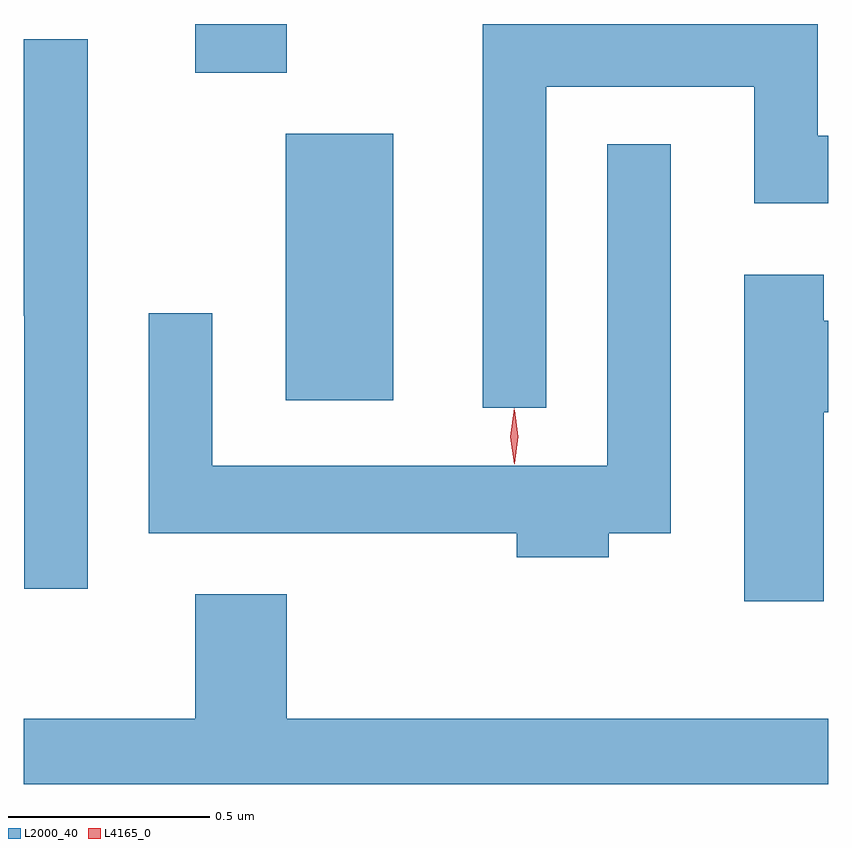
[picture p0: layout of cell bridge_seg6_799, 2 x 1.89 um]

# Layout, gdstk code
import gdstk
lib = gdstk.Library(unit=1e-6, precision=1e-09)
def R(c, l, rs):  # rectangles x0, y0, x1, y1
    for r in rs: c.add(gdstk.rectangle(r[:2], r[2:], *l))
def P(c, l, *ps):  # polygons
    for p in ps: c.add(gdstk.Polygon(p, *l))
L2000_40 = (2000, 40)
L4165_0 = (4165, 0)

bridge_seg6_799 = lib.new_cell('bridge_seg6_799')
R(bridge_seg6_799, L2000_40, [(484.256,1531.116,484.524,1531.779), (484.031,1531.931,484.259,1532.052)])
P(bridge_seg6_799, L2000_40, [(484.904,1531.896),(485.421,1531.896),(485.421,1531.606),(485.605,1531.606),(485.605,1531.774),(485.579,1531.774),(485.579,1532.052),(484.746,1532.052),(484.746,1531.098),(484.904,1531.098)],
  [(483.764,1532.014),(483.605,1532.014),(483.605,1531.326),(483.606,1531.326),(483.606,1530.648),(483.764,1530.648)],
  [(485.059,1530.786),(485.214,1530.786),(485.214,1531.753),(485.056,1531.753),(485.056,1530.954),(484.074,1530.954),(484.074,1531.333),(483.916,1531.333),(483.916,1530.786),(484.831,1530.786),(484.831,1530.726),(485.059,1530.726)],
  [(485.594,1531.086),(485.605,1531.086),(485.605,1531.314),(485.594,1531.314),(485.594,1531.429),(485.396,1531.429),(485.396,1530.616),(485.594,1530.616)],
  [(485.605,1530.324),(484.259,1530.324),(484.259,1530.634),(484.031,1530.634),(484.031,1530.324),(483.605,1530.324),(483.605,1530.162),(485.605,1530.162)])
P(bridge_seg6_799, L4165_0, [(484.826,1530.959),(484.825,1530.96),(484.815,1531.026),(484.825,1531.092),(484.825,1531.093),(484.826,1531.092),(484.835,1531.026),(484.826,1530.96)],
  [(484.824,1530.957),(484.815,1531.026),(484.824,1531.096),(484.825,1531.096),(484.825,1531.096),(484.835,1531.026),(484.825,1530.957),(484.825,1530.957)])

lib.write_gds('bridge_seg6_799.gds')
